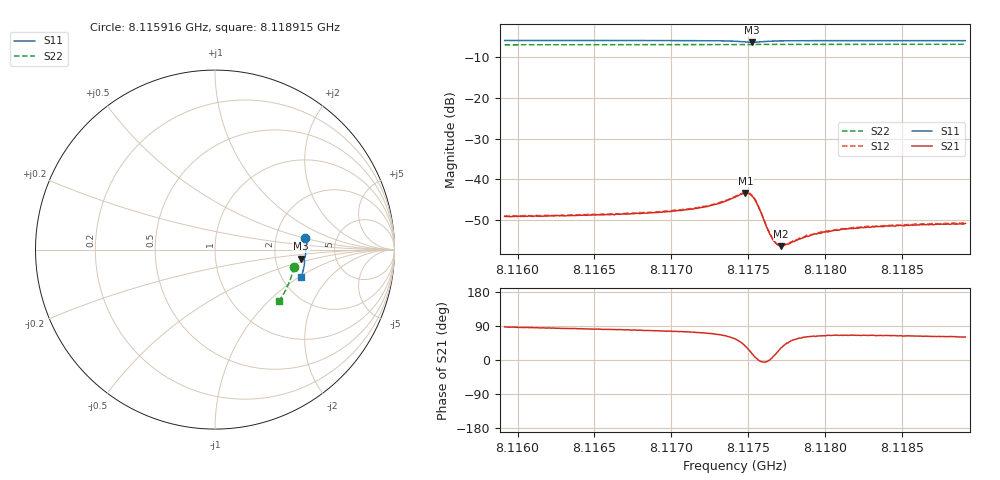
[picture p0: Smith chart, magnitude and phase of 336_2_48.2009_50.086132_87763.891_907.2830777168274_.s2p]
#  HZ  S  RI  R  50.00
! Rohde & Schwarz Vector Network Analyzer
! Rohde-Schwarz,ZNB20-2Port,1311601062101988,3.16
! Created: UTC 3/20/2024, 11:51:05 AM
! freq[Hz]  re:S11  im:S11  re:S21  im:S21  re:S12  im:S12  re:S22  im:S22
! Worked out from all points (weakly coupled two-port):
!   401 points, 8.115916 GHz to 8.118915 GHz, reference 50 ohm
!   highest |S21| = -43.39 dB at 8.117483 GHz (marker M1); lowest = -56.4 dB at 8.117715 GHz (marker M2)
!   lowest |S11| = -6.3 dB at 8.117528 GHz (marker M3), VSWR 2.86, Z = 140 - j18.4 ohm
!   |S11| at or under -10 dB: nowhere
!   |S22| runs from -7.0 to -6.8 dB; largest |S21 - S12| = 0.00018
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8.1159158e9  0.5034 0.0644  0.000156 0.0035  0.000274 0.00355  0.4381 -0.0956
8.1164182e9  0.506 0.0267  0.00048 0.00358  0.000523 0.00363  0.4305 -0.1294
8.1169206e9  0.5057 -0.0118  0.000879 0.00383  0.000925 0.00389  0.4206 -0.1631
8.1171305e9  0.504 -0.0288  0.0012 0.00411  0.00126 0.00417  0.4154 -0.1769
8.117243e9  0.5023 -0.0386  0.00157 0.00441  0.00164 0.00447  0.4126 -0.1841
8.117318e9  0.5002 -0.0459  0.00202 0.00468  0.00211 0.00478  0.4105 -0.189
8.1174154e9  0.4936 -0.0553  0.00337 0.00499  0.00353 0.00505  0.4076 -0.1954
8.1174829e9  0.4833 -0.0573  0.00543 0.00403  0.00554 0.00405  0.4053 -0.1995
8.1175054e9  0.4801 -0.0547  0.00595 0.003  0.00608 0.00301  0.4046 -0.2006
8.1175279e9  0.479 -0.0504  0.00595 0.00171  0.00608 0.00168  0.404 -0.2017
8.1175579e9  0.482 -0.0454  0.00503 0.000258  0.00515 0.000212  0.4033 -0.2034
8.1176329e9  0.4937 -0.0475  0.00232 -8.24e-05  0.00236 -0.000101  0.4016 -0.2081
8.1176629e9  0.4961 -0.0508  0.00177 0.00027  0.00183 0.000245  0.4008 -0.2102
8.1176854e9  0.4972 -0.0535  0.00153 0.000505  0.00154 0.000503  0.4004 -0.2117
8.1177153e9  0.4983 -0.0568  0.00128 0.000802  0.00135 0.000815  0.3996 -0.2136
8.1177528e9  0.4989 -0.0608  0.00113 0.00112  0.00116 0.00111  0.3985 -0.216
8.1178653e9  0.4989 -0.0715  0.000965 0.00167  0.000981 0.00169  0.3949 -0.2232
8.1179178e9  0.4985 -0.0762  0.00096 0.00185  0.000981 0.00186  0.3931 -0.2265
8.1179778e9  0.498 -0.0813  0.000973 0.00197  0.00103 0.00203  0.3911 -0.2301
8.1181052e9  0.4964 -0.0913  0.00101 0.00222  0.00104 0.00225  0.3869 -0.238
8.1184202e9  0.4913 -0.1152  0.00114 0.00242  0.00117 0.00246  0.3756 -0.2572
8.118915e9  0.4813 -0.1512  0.00141 0.0025  0.00139 0.00254  0.3561 -0.2859
